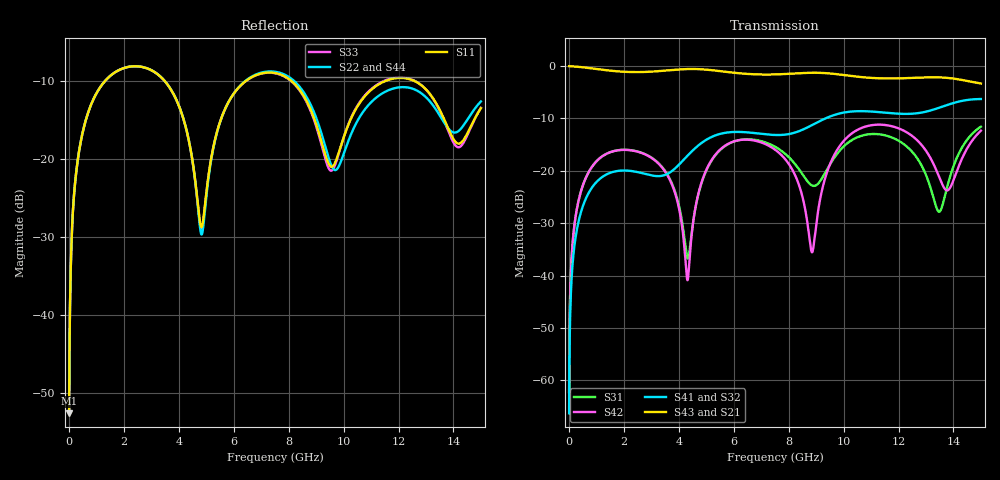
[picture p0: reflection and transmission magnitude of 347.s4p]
! Created with skrf 1.8.0 (http://scikit-rf.org).
# GHz S RI R 50.0
!freq ReS11 ImS11 ReS12 ImS12 ReS13 ImS13
! ReS14 ImS14
! ReS21 ImS21 ReS22 ImS22 ReS23 ImS23
! ReS24 ImS24
! ReS31 ImS31 ReS32 ImS32 ReS33 ImS33
! ReS34 ImS34
! ReS41 ImS41 ReS42 ImS42 ReS43 ImS43
! ReS44 ImS44
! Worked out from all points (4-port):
!   2499 points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, 5 MHz to 15 GHz, reference 50 ohm
!   strongest paths, dB at 5 MHz, 3.476 GHz, 7.19 GHz, 11.1 GHz, 15 GHz:
!     S43: 0.0, -0.9, -1.6, -2.3, -3.3
!     S21: 0.0, -0.9, -1.6, -2.3, -3.3
!     S41: -66.3, -20.8, -13.0, -8.7, -6.3
!     S32: -66.3, -20.9, -13.1, -8.7, -6.3
!     S42: -62.3, -20.0, -15.0, -11.2, -12.3
!     S31: -62.3, -19.9, -14.6, -13.0, -11.6
!   lowest |S11| = -52.6 dB at 5 MHz (marker M1), VSWR 1.00, Z = 50.2 + j0.141 ohm
!   |S11| at or under -10 dB: 3.477 GHz to 6.452 GHz (2.974 GHz wide, 59.9 % of centre); 8.092 GHz to 11.55 GHz (3.454 GHz wide, 35.2 % of centre); 12.56 GHz to end of sweep (the widest 3 of 4)
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0.005  0.00186 0.00141  0.9981 -0.00362  9.5e-05 0.000764  -9.21e-05 -0.000475
       0.9981 -0.00362  0.00186 0.00141  -9.21e-05 -0.000475  9.5e-05 0.000764
       9.5e-05 0.000764  -9.21e-05 -0.000475  0.00186 0.00141  0.9981 -0.00362
       -9.21e-05 -0.000475  9.5e-05 0.000764  0.9981 -0.00362  0.00186 0.00141
1.3193  0.259 0.181  0.5724 -0.7144  0.1273 0.0661  -0.0904 -0.0101
        0.5724 -0.7144  0.2593 0.1808  -0.0903 -0.0102  0.1266 0.0669
        0.1273 0.0661  -0.0903 -0.0102  0.259 0.1809  0.5724 -0.7144
        -0.0904 -0.0101  0.1266 0.0669  0.5724 -0.7144  0.2592 0.1808
4.314298  0.0752 -0.1228  -0.8552 -0.3817  -0.0138 -0.005  -0.0518 0.1292
          -0.8552 -0.3817  0.0725 -0.1249  -0.0539 0.1283  -0.00873 -0.00227
          -0.0138 -0.005  -0.0539 0.1283  0.0739 -0.1226  -0.8553 -0.3818
          -0.0518 0.1292  -0.00873 -0.00227  -0.8553 -0.3818  0.0732 -0.1238
7.309296  0.357 -0.00735  -0.0839 0.8257  0.1611 -0.0802  0.2157 -0.0494
          -0.0839 0.8257  0.3629 -0.00671  0.2153 -0.0442  0.1612 -0.0591
          0.1611 -0.0802  0.2153 -0.0442  0.356 -0.00732  -0.0849 0.8263
          0.2157 -0.0494  0.1612 -0.0591  -0.0849 0.8263  0.3602 -0.00616
8.847436  0.1505 -0.1276  0.6564 0.5597  -0.0596 -0.0415  0.169 -0.2143
          0.6564 0.5597  0.1567 -0.1447  0.1755 -0.2089  -0.0156 -0.00586
          -0.0596 -0.0415  0.1755 -0.2089  0.1459 -0.1264  0.6566 0.5607
          0.169 -0.2143  -0.0156 -0.00586  0.6566 0.5607  0.1563 -0.1405
9.93539  0.1131 0.0553  0.8257 -0.0238  0.00289 0.1639  -0.036 -0.355
         0.8257 -0.0238  0.0961 0.0254  -0.0256 -0.3561  0.081 0.1645
         0.00289 0.1639  -0.0256 -0.3561  0.1097 0.0612  0.8257 -0.0225
         -0.036 -0.355  0.081 0.1645  0.8257 -0.0225  0.0983 0.0269
15  0.2023 0.0594  -0.6797 0.0465  0.0957 0.2461  0.0995 0.4743
    -0.6797 0.0465  0.2283 0.0469  0.0799 0.4773  0.1191 0.2101
    0.0957 0.2461  0.0799 0.4773  0.2003 0.0695  -0.6804 0.0398
    0.0995 0.4743  0.1191 0.2101  -0.6804 0.0398  0.2282 0.0436
